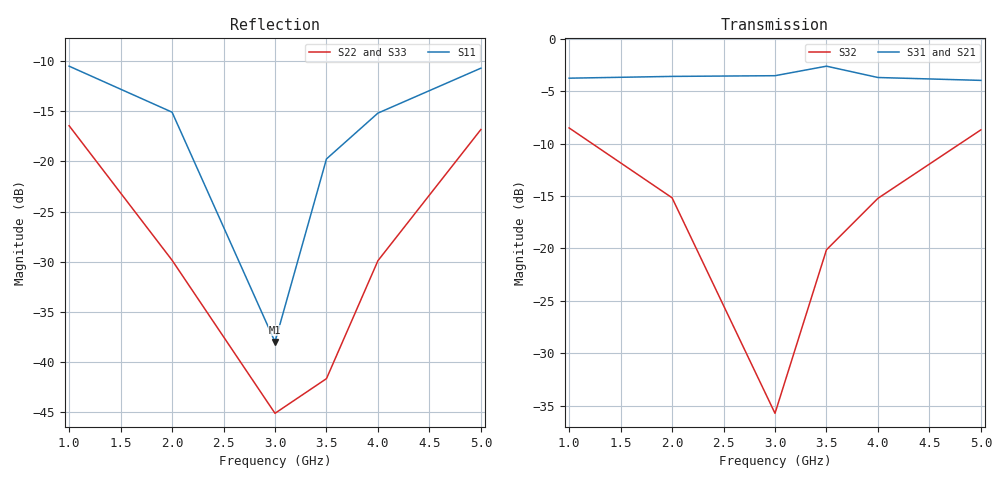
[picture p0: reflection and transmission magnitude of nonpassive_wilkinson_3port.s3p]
! ELE v11.0.0 Benchmark: Non-Passive + Non-Reciprocal 3-Port AI Surrogate (MUST BE VETOED)
# GHZ S RI R 50.0
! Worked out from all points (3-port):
!   6 points, 1 GHz to 5 GHz, reference 50 ohm
!   strongest paths, dB at 1 GHz, 2 GHz, 3.5 GHz, 4 GHz, 5 GHz:
!     S31: -3.7, -3.6, -2.6, -3.7, -4.0
!     S21: -3.7, -3.6, -2.6, -3.7, -4.0
!     S32: -8.5, -15.2, -20.1, -15.2, -8.7
!   lowest |S11| = -38.0 dB at 3 GHz (marker M1), VSWR 1.03, Z = 48.8 + j2.04e-15 ohm
!   |S11| at or under -10 dB: start of sweep to end of sweep
1  -0.2636 0.1398  0.5705 -0.3113  0.5705 -0.3113
   0.5705 -0.3113  -0.0256 0.1484  0.2593 -0.2725
   0.5705 -0.3113  0.2593 -0.2725  -0.0256 0.1484
2  -0.0991 0.1454  0.3453 -0.5658  0.3453 -0.5658
   0.3453 -0.5658  0.0137 0.0291  0.0739 -0.1582
   0.3453 -0.5658  0.0739 -0.1582  0.0137 0.0291
3  -0.0126 2.09e-17  4.32e-17 -0.6679  4.32e-17 -0.6679
   4.32e-17 -0.6679  -0.00554 1.08e-18  0.0163 -1.96e-17
   4.32e-17 -0.6679  0.0163 -1.96e-17  -0.00554 1.08e-18
3.5  -0.0417 -0.094  -0.2019 -0.7136  -0.2019 -0.7136
     -0.2159 -0.7096  0.000432 -0.00824  0.0362 0.0917
     -0.2019 -0.7136  0.0362 0.0917  0.000432 -0.00824
4  -0.1009 -0.1419  -0.3408 -0.5591  -0.3408 -0.5591
   -0.3408 -0.5591  0.0122 -0.0296  0.077 0.1555
   -0.3408 -0.5591  0.077 0.1555  0.0122 -0.0296
5  -0.2594 -0.1332  -0.5565 -0.3045  -0.5565 -0.3045
   -0.5565 -0.3045  -0.0322 -0.1405  0.2621 0.2588
   -0.5565 -0.3045  0.2621 0.2588  -0.0322 -0.1405
